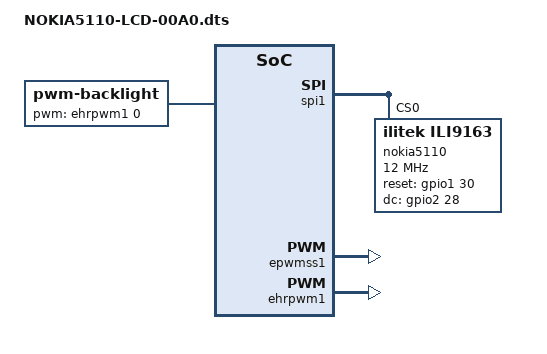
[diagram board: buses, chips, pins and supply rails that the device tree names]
/*
* Copyright (C) 2014 ololoshka2871
* Based on NEOSEC-TINYLCD35-00A0.dts by Noralf Tronnes
*
* nokia5110-lcd
*
* This program is free software; you can redistribute it and/or modify
* it under the terms of the GNU General Public License version 2 as
* published by the Free Software Foundation.
*/

/dts-v1/;
/plugin/;

/ {
    compatible = "ti,beaglebone", "ti,beaglebone-black";

    /* identification */
    part-number = "NOKIA5110-LCD";

    /* version */
    version = "00A0";

    /* state the resources this cape uses */
    exclusive-use =
        /* the pin header uses */
		"P9.31", /* spi1_sclk */
		"P9.29", /* spi1_d0 MISO */
		"P9.30", /* spi1_d1 MOSI */
		"P9.28", /* spi1_cs0 */
		"P9.11", /* gpio0_30 - reset */
		"P9.12", /* gpio1_28 - dc */
		"P9.15", /* gpio1_16 - led */
		"P9.14", /* backlight */
		"ehrpwm1A",
        "spi1";

    fragment@0 {
        target = <&am33xx_pinmux>;
        __overlay__ {
            bb_spi1_pins: pinmux_bb_spi1_pins {
                pinctrl-single,pins = <
                    0x190 0x13    /* P9_31 = mcasp0_aclkx.spi1_sclk , OUTPUT_PULLUP | MODE3 */
                    0x194 0x33    /* P9_29 = mcasp0_fsx.spi1_d0     , INPUT_PULLUP  | MODE3 */
                    0x198 0x13    /* P9_30 = mcasp0_axr0.spi1_d1    , OUTPUT_PULLUP | MODE3 */
                    0x19c 0x13    /* P9_28 = mcasp0_ahclkr.spi1_cs0 , OUTPUT_PULLUP | MODE3 */
                >;
			};
            lcd_ctrl_pinmux: lcd_ctrl_pins {
				pinctrl-single,pins = <
					0x070 0x17 /* P9.11 gpio0_30 OUTPUT_PULLUP | MODE7 */
					0x078 0x17 /* P9.12 gpio1_28 OUTPUT_PULLUP | MODE7 */
					0x040 0x07 /* P9.15 gpio1_16 OUTPUT_PULDOWN| MODE7 */
				>;
            };
			pwm_bl_pins: pinmux_pwm_bl_pins {
				pinctrl-single,pins = <
					0x48 0x06 /* ehrpwm1a, MODE6 */
				>;
			};
        };
    };

    fragment@1 {
		target = <&spi1>;
		__overlay__ {
			status = "okay";
			pinctrl-names = "default";
			pinctrl-0 = <&bb_spi1_pins>;

			#address-cells = <1>;
			#size-cells = <0>;

			nokia5110: nokia5110@0 {
				compatible = "ilitek,ili9163";
				reg = <0>;

				pinctrl-names = "default";
				pinctrl-0 = <&lcd_ctrl_pinmux>;

				spi-max-frequency = <12000000>;
				rotate = <90>;
				bgr;
				fps = <30>;
				buswidth = <8>;

				reset-gpios = <&gpio1 30 0>;
				dc-gpios = <&gpio2 28 0>;

				debug = <1>;
			};
		};
	};

	fragment@2 {
		target = <&epwmss1>;
		__overlay__ {
			status = "okay";
		};
	};

	fragment@3 {
		target = <&ehrpwm1>;
		__overlay__ {
			status = "okay";
		};
	};

	fragment@4 {
		target = <&ocp>;
		__overlay__ {
			backlight {
				compatible = "pwm-backlight";
				pinctrl-names = "default";
				pinctrl-0 = <&pwm_bl_pins>;
				status = "okay";
				enabled = <1>;

				pwms = <&ehrpwm1 0 500000 1>;
				pwm-names = "backlight";

				brightness-levels = <0 8 16 32 48 64 80 96 112 128 144
										160 176 192 208 224 240 255>;
				default-brightness-level = <10>; /* index to the array above */
			};
		};
	};
};
